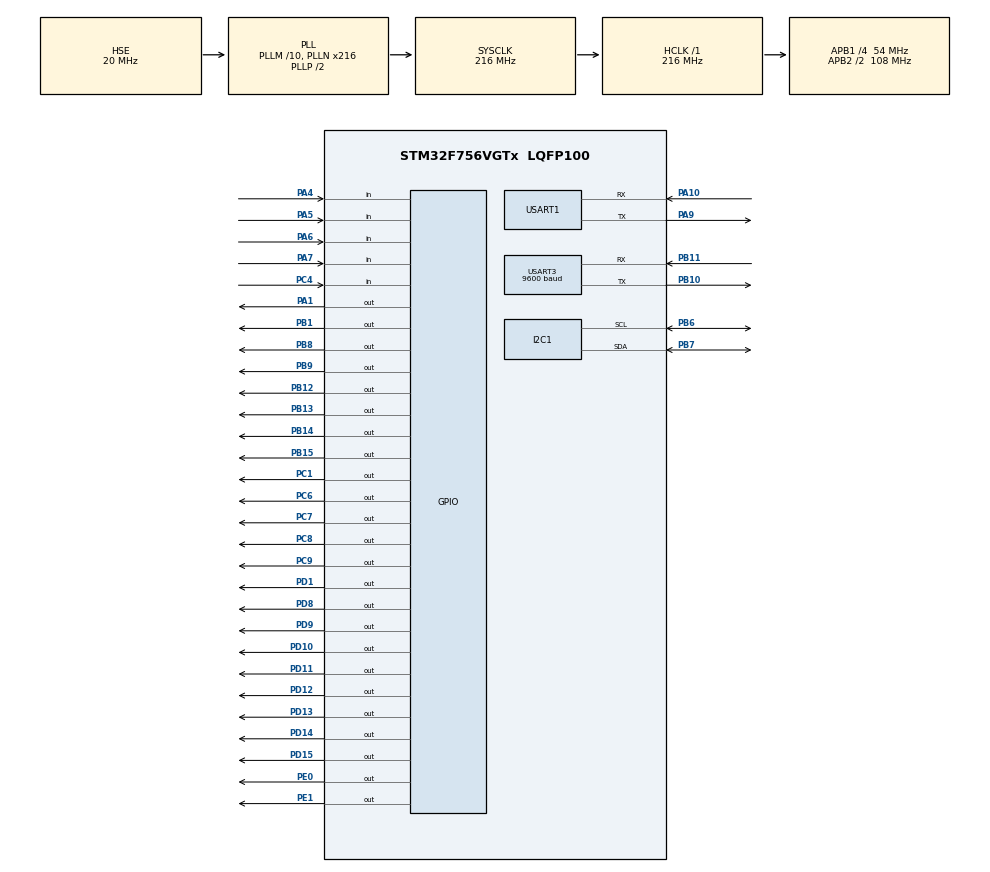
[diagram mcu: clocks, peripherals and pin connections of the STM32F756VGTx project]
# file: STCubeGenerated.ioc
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I2C1.Timing=0x20404768
Mcu.Family=STM32F7
Mcu.Name=STM32F756VGTx
Mcu.Package=LQFP100
NVIC.PriorityGroup=NVIC_PRIORITYGROUP_4
NVIC.TIM6_DAC_IRQn=true\:0\:0\:false\:false\:true
NVIC.TIM7_IRQn=true\:0\:0\:false\:false\:true
NVIC.USART1_IRQn=true\:0\:0\:false\:false\:true
NVIC.USART3_IRQn=true\:0\:0\:false\:false\:true
PA1.Signal=GPIO_Output
PA10.Mode=Asynchronous
PA10.Signal=USART1_RX
PA4.Signal=GPIO_Input
PA5.Signal=GPIO_Input
PA6.Signal=GPIO_Input
PA7.Signal=GPIO_Input
PA9.Mode=Asynchronous
PA9.Signal=USART1_TX
PB1.Signal=GPIO_Output
PB10.Mode=Asynchronous
PB10.Signal=USART3_TX
PB11.Mode=Asynchronous
PB11.Signal=USART3_RX
PB12.Signal=GPIO_Output
PB13.Signal=GPIO_Output
PB14.Signal=GPIO_Output
PB15.Signal=GPIO_Output
PB6.Mode=I2C
PB6.Signal=I2C1_SCL
PB7.Mode=I2C
PB7.Signal=I2C1_SDA
PB8.Signal=GPIO_Output
PB9.Signal=GPIO_Output
PC1.Signal=GPIO_Output
PC4.Signal=GPIO_Input
PC6.Signal=GPIO_Output
PC7.Signal=GPIO_Output
PC8.Signal=GPIO_Output
PC9.Signal=GPIO_Output
PD1.Signal=GPIO_Output
PD10.Signal=GPIO_Output
PD11.Signal=GPIO_Output
PD12.Signal=GPIO_Output
PD13.Signal=GPIO_Output
PD14.Signal=GPIO_Output
PD15.Signal=GPIO_Output
PD8.Signal=GPIO_Output
PD9.Signal=GPIO_Output
PE0.Signal=GPIO_Output
PE1.Signal=GPIO_Output
PH0/OSC_IN.Mode=HSE-External-Oscillator
PH0/OSC_IN.Signal=RCC_OSC_IN
PH1/OSC_OUT.Mode=HSE-External-Oscillator
PH1/OSC_OUT.Signal=RCC_OSC_OUT
ProjectManager.HeapSize=0x200
ProjectManager.StackSize=0x400
ProjectManager.TargetToolchain=MDK-ARM V5
RCC.AHBFreq_Value=216000000
RCC.APB1CLKDivider=RCC_HCLK_DIV4
RCC.APB1Freq_Value=54000000
RCC.APB1TimFreq_Value=108000000
RCC.APB2CLKDivider=RCC_HCLK_DIV2
RCC.APB2Freq_Value=108000000
RCC.APB2TimFreq_Value=216000000
RCC.CortexFreq_Value=216000000
RCC.HCLKFreq_Value=216000000
RCC.HSE_VALUE=20000000
RCC.HSI_VALUE=16000000
RCC.LSE_VALUE=32768
RCC.PLLM=10
RCC.PLLN=216
RCC.PLLSourceVirtual=RCC_PLLSOURCE_HSE
RCC.SYSCLKFreq_VALUE=216000000
RCC.SYSCLKSource=RCC_SYSCLKSOURCE_PLLCLK
RCC.USBFreq_Value=216000000
RCC.VCOOutputFreq_Value=432000000
USART1.VirtualMode-Asynchronous=VM_ASYNC
USART1.WordLength=WORDLENGTH_8B
USART3.BaudRate=9600
USART3.VirtualMode-Asynchronous=VM_ASYNC
USART3.WordLength=WORDLENGTH_8B
VP_TIM6_VS_ClockSourceINT.Mode=Enable_Timer
VP_TIM7_VS_ClockSourceINT.Mode=Enable_Timer
board=STCubeGenerated

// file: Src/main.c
/**
  ******************************************************************************
  * File Name          : main.c
  * Description        : Main program body
  ******************************************************************************
  ** This notice applies to any and all portions of this file
  * that are not between comment pairs USER CODE BEGIN and
  * USER CODE END. Other portions of this file, whether
  * inserted by the user or by software development tools
  * are owned by their respective copyright owners.
  *
  * COPYRIGHT(c) 2017 STMicroelectronics
  *
  * Redistribution and use in source and binary forms, with or without modification,
  * are permitted provided that the following conditions are met:
  *   1. Redistributions of source code must retain the above copyright notice,
  *      this list of conditions and the following disclaimer.
  *   2. Redistributions in binary form must reproduce the above copyright notice,
  *      this list of conditions and the following disclaimer in the documentation
  *      and/or other materials provided with the distribution.
  *   3. Neither the name of STMicroelectronics nor the names of its contributors
  *      may be used to endorse or promote products derived from this software
  *      without specific prior written permission.
  *
  * THIS SOFTWARE IS PROVIDED BY THE COPYRIGHT HOLDERS AND CONTRIBUTORS "AS IS"
  * AND ANY EXPRESS OR IMPLIED WARRANTIES, INCLUDING, BUT NOT LIMITED TO, THE
  * IMPLIED WARRANTIES OF MERCHANTABILITY AND FITNESS FOR A PARTICULAR PURPOSE ARE
  * DISCLAIMED. IN NO EVENT SHALL THE COPYRIGHT HOLDER OR CONTRIBUTORS BE LIABLE
  * FOR ANY DIRECT, INDIRECT, INCIDENTAL, SPECIAL, EXEMPLARY, OR CONSEQUENTIAL
  * DAMAGES (INCLUDING, BUT NOT LIMITED TO, PROCUREMENT OF SUBSTITUTE GOODS OR
  * SERVICES; LOSS OF USE, DATA, OR PROFITS; OR BUSINESS INTERRUPTION) HOWEVER
  * CAUSED AND ON ANY THEORY OF LIABILITY, WHETHER IN CONTRACT, STRICT LIABILITY,
  * OR TORT (INCLUDING NEGLIGENCE OR OTHERWISE) ARISING IN ANY WAY OUT OF THE USE
  * OF THIS SOFTWARE, EVEN IF ADVISED OF THE POSSIBILITY OF SUCH DAMAGE.
  *
  ******************************************************************************
  */
#include "main.h"
#include "stm32f7xx_hal.h"

/* USER CODE BEGIN Includes */
#include <math.h>
#include <stdbool.h>

/* USER CODE END Includes */

I2C_HandleTypeDef hi2c1;

TIM_HandleTypeDef htim6;
TIM_HandleTypeDef htim7;

UART_HandleTypeDef huart1;
UART_HandleTypeDef huart3;

/* USER CODE BEGIN PV */
/* Private variables ---------------------------------------------------------*/
unsigned char RXData[15];																//Array for Bluetooth reception
unsigned char RXDataBuffer[15];													//Temp buffer for above
unsigned char X_Char;																		//Stores received X as Char
unsigned char Y_Char;																		//Stores received Y as Char
unsigned char R_Char;																		//Stores received R as Char
int X_Vect =0;																					//Stores received X as Int
int Y_Vect =0;																					//Stores received Y as Int
int R_Vect =0;																					//Stores received R as Int
int legAngles[3][15];																		//Stores the desired angle for each limb
int legAngles_id[3][15] = {{1, 2, 3, 4, 5,							//Stores the ID of each limb for sorting
											6, 7, 8, 9, 10,
											11, 12, 13, 14, 15},
											{1, 2, 3, 4, 5,
											6, 7, 8, 9, 10,
											11, 12, 13, 14, 15},
											{1, 2, 3, 4, 5,
											6, 7, 8, 9, 10,
											11, 12, 13, 14, 15}};

int servoOffset[] = {300,315,300,305,295,								//Array for storing the offset of each servo
											430,460,450,440,442,
											-110,-112,-105,-78,-98};
int servoMultiplier[] = {	-360,-380,-363,-365,-370,			//Array for storing the multiplier of each servo
													-400,-400,-400,-400,-400,
													480,545,490,460,500};
int servoCount = 0;																			//Counter used for keeping track of servo interrupts
char servoCountChar[2];
int BTCount = 0;																				//Counter for BlueTooth LED
int newPeriod = 0;

static TIM_HandleTypeDef ServoTimer;
static TIM_HandleTypeDef ServoTimer2;

unsigned char BTRewrite[] = {'X','Y','R','\r'};					//String used for debugging

struct servos {
	int theta;
	int phi;
	int alpha;
};

struct coordinates{
	double x;
	double y;
	double z;
};

struct vectors{
	int X;
	int Y;
	int R;
	bool valid;
};

double rad2deg = 57.29577951308232;
double A_length = 50;
double B_length = 106;
double C_length = 130;
double z_body = 70;
double robotRadius = 90;

bool resetStatus[5];																		//Array used to store reset status of each leg

double X_Vector = 0;																		//Global movement vectors
double Y_Vector = 0;
double R_Vector = 0;

double destination[2][5];																//2D array that stores X([0]) and Y([1]) values
																												//for the destination of each foot
double currentPosition[2][5];														//2D array that stores X and Y values for the
																												//current position of each foot
double translateLeg[2][5];															//Stores coordinates of joint 1 for each leg.
																												//Replaces TranslateLeg()
bool legAngleFlag = false;															//True when busy writing to legAngles
int bufferLevel;																				//Used to select between levels in buffer
int time = 0;																						//Keeps timing of robot movement for speed calculations
bool BTon = false;																			//Used in program to determine if Bluetooth is connected or not.
//Peripheral pin & port difinitions
#define BTPort 					GPIOE
#define BTLEDPin 				GPIO_PIN_0
#define redLEDPort 			GPIOB
#define redLEDPin 			GPIO_PIN_9
#define greenLEDPort 		GPIOB
#define greenLEDPin 		GPIO_PIN_8
#define servoPowerPort	GPIOC
#define servoPowerPin		GPIO_PIN_9

//Servo pin & port definitions
#define servo1Pin 		GPIO_PIN_12
#define servo1Port 		GPIOB
#define servo2Pin 		GPIO_PIN_13
#define servo2Port 		GPIOB
#define servo3Pin 		GPIO_PIN_14
#define servo3Port 		GPIOB
#define servo4Pin 		GPIO_PIN_15
#define servo4Port 		GPIOB
#define servo5Pin 		GPIO_PIN_8
#define servo5Port 		GPIOD
#define servo6Pin 		GPIO_PIN_9
#define servo6Port 		GPIOD
#define servo7Pin 		GPIO_PIN_10
#define servo7Port 		GPIOD
#define servo8Pin 		GPIO_PIN_11
#define servo8Port 		GPIOD
#define servo9Pin 		GPIO_PIN_12
#define servo9Port 		GPIOD
#define servo10Pin 		GPIO_PIN_13
#define servo10Port 	GPIOD
#define servo11Pin 		GPIO_PIN_14
#define servo11Port 	GPIOD
#define servo12Pin 		GPIO_PIN_15
#define servo12Port 	GPIOD
#define servo13Pin 		GPIO_PIN_6
#define servo13Port 	GPIOC
#define servo14Pin 		GPIO_PIN_7
#define servo14Port 	GPIOC
#define servo15Pin 		GPIO_PIN_8
#define servo15Port 	GPIOC

uint16_t servoPinArray[] ={	servo1Pin, servo2Pin, servo3Pin,
														servo4Pin, servo5Pin, servo6Pin,
														servo7Pin, servo8Pin, servo9Pin,
														servo10Pin, servo11Pin, servo12Pin,
														servo13Pin, servo14Pin, servo15Pin};

GPIO_TypeDef * servoPortArray[] = {	servo1Port, servo2Port, servo3Port,
																		servo4Port, servo5Port, servo6Port,
																		servo7Port, servo8Port, servo9Port,
																		servo10Port, servo11Port, servo12Port,
																		servo13Port, servo14Port, servo15Port};
/* USER CODE END PV */

void SystemClock_Config(void);
static void MX_GPIO_Init(void);
static void MX_USART3_UART_Init(void);
static void MX_USART1_UART_Init(void);
static void MX_TIM6_Init(void);
static void MX_TIM7_Init(void);
static void MX_I2C1_Init(void);

/* USER CODE BEGIN PFP */
/* Private function prototypes -----------------------------------------------*/
void Debug(char *Array, int count);														//Sends something to UART1 for debugging
void HAL_UART_ErrorCallback(UART_HandleTypeDef *huart);				//Sends error message with Debug()
void SetupTimers(void);																				//Configure timers 6 and 7 for use in servo control
void Sort(void);																							//Sorts timer values into ascending order
void SetServo(int servo, int degrees);												//Sets the timer value for a servo from a degree value
struct servos IK( struct coordinates input);									//Inverse Kinematics function
bool CheckBounds(struct servos leg);													//Check if legs need to be reset
struct coordinates Rotate(double x, double y, double angle);	//Rotate coordinates about an angle
void TranslateLeg(void);																			//Generates constants at beginning of program
struct coordinates Vector(double x, double y, int leg, bool offset, double r);
void StartPosition(void);																			//Resets robot to default position
void HAL_UART_RxCpltCallback(UART_HandleTypeDef *huart);			//ISR for when bluetooth communication is received.
void BTDecrypt(void);																//Resturns vectors sent from android
void ServoUpdate(void);																				//Moves entire buffer over at once to servos
void Delay(int a);																						//Delays program for a cycles of 20ms
void ResetLeg(int leg);																				//Moves the specified leg back to its origin
void DestinationUpdate(int leg);															//Calculates the new destination from the input vectors and the current values

/* USER CODE END PFP */

int main(void)
{

  /* MCU Configuration----------------------------------------------------------*/

  /* Reset of all peripherals, Initializes the Flash interface and the Systick. */
  HAL_Init();

  /* Configure the system clock */
  SystemClock_Config();

  /* Initialize all configured peripherals */
  MX_GPIO_Init();
  MX_USART3_UART_Init();
  MX_USART1_UART_Init();
  MX_TIM6_Init();
  MX_TIM7_Init();
  MX_I2C1_Init();

  /* USER CODE BEGIN 2 */
	SetupTimers();
	StartPosition();

	TranslateLeg();

	Debug("Init done",9);

  /* USER CODE END 2 */

  /* Infinite loop */
  /* USER CODE BEGIN WHILE */
	Debug("Entering main loop",18);
	HAL_UART_Receive_IT(&huart3,RXDataBuffer,15);											//Receive commands via bluetooth in interrupt mode
  while (1)
  {
  /* USER CODE END WHILE */

  /* USER CODE BEGIN 3 */
		//Turn off all LEDs except red
		HAL_GPIO_WritePin(BTPort,BTLEDPin,GPIO_PIN_SET);
		HAL_GPIO_WritePin(greenLEDPort,greenLEDPin,GPIO_PIN_SET);
		HAL_GPIO_WritePin(redLEDPort,redLEDPin,GPIO_PIN_RESET);

		Debug("Waiting for Bluetooth...",24);

		while (BTon == false)
		{
			//Wait here for connection
		}
		//Turn off all LEDs except blue
		HAL_GPIO_WritePin(BTPort,BTLEDPin,GPIO_PIN_RESET);
		HAL_GPIO_WritePin(greenLEDPort,greenLEDPin,GPIO_PIN_SET);
		HAL_GPIO_WritePin(redLEDPort,redLEDPin,GPIO_PIN_SET);
		Debug("Turning on servos...",20);
		//Move servos to home position
		StartPosition();
		//Turn on power to servos
		HAL_GPIO_WritePin(servoPowerPort,servoPowerPin,GPIO_PIN_SET);
		//Delay for 1 second to get things started
		Delay(10);
		//Put legs in the 0,0,50 position one at a time
		for (int leg = 1; leg <6; leg++)
		{
			struct coordinates leg_Vector = Vector(0,0,leg,true,0);
			leg_Vector.z = 50;			//Lift legs above ground
			struct servos leg_servo = IK(leg_Vector);

			SetServo(leg,leg_servo.theta);
			SetServo(leg+5,leg_servo.phi);
			SetServo(leg+10,leg_servo.alpha);
			ServoUpdate();
			Delay(10);
		}
		//Slowly raise the body
		for (int height = 50 ; height >0 ; --height)
		{
			for (int leg = 1; leg <6; leg++)
			{
				struct coordinates leg_Vector = Vector(0,0,leg,true,0);
				leg_Vector.z = height;			//Lift legs above ground
				struct servos leg_servo = IK(leg_Vector);

				SetServo(leg,leg_servo.theta);
				SetServo(leg+5,leg_servo.phi);
				SetServo(leg+10,leg_servo.alpha);
				ServoUpdate();
			}
			Delay(2);
		}
		//Turn off all LEDs except green
		HAL_GPIO_WritePin(BTPort,BTLEDPin,GPIO_PIN_SET);
		HAL_GPIO_WritePin(greenLEDPort,greenLEDPin,GPIO_PIN_RESET);
		HAL_GPIO_WritePin(redLEDPort,redLEDPin,GPIO_PIN_SET);
		Debug("Ready...",8);

		//This is the main part that executes while the bluetooth is connected
		while(BTon)
		{
			//Get the vectors from the last transmitted message
			BTDecrypt();
			//Perform inverse kinematics
			for (int leg = 1; leg <6; leg++)
			{
//				struct coordinates leg_Vector = Vector(-X_Vect,-Y_Vect,leg,true);  //!!!!!!!!!This does not accumulate!!!!!!!!!!!!!!!!!!!!!!
				DestinationUpdate(leg);
				struct coordinates leg_Vector;
				leg_Vector.x = currentPosition[0][leg-1];
				leg_Vector.y = currentPosition[1][leg-1];
				leg_Vector.z = 0;
				struct servos leg_servo = IK(leg_Vector);
				//Check if this is out ouf bounds
				if (CheckBounds(leg_servo))
				{
					resetStatus[leg-1] = true;
				}else{
					resetStatus[leg-1] = false;
				}
				SetServo(leg,leg_servo.theta);
				SetServo(leg+5,leg_servo.phi);
				SetServo(leg+10,leg_servo.alpha);
			}
			//Reset legs if necessary
			for (int leg = 1; leg < 6; leg++)
			{
				if (resetStatus[leg-1] == true)
				{
					//Turn on all LEDs (white)
					HAL_GPIO_WritePin(BTPort,BTLEDPin,GPIO_PIN_RESET);
					HAL_GPIO_WritePin(greenLEDPort,greenLEDPin,GPIO_PIN_RESET);
					HAL_GPIO_WritePin(redLEDPort,redLEDPin,GPIO_PIN_RESET);
					//Reset leg
					ResetLeg(leg);
				}
			}
			//Move the legs to where we want them
			ServoUpdate();
			//Turn off all LEDs except green
			HAL_GPIO_WritePin(BTPort,BTLEDPin,GPIO_PIN_SET);
			HAL_GPIO_WritePin(greenLEDPort,greenLEDPin,GPIO_PIN_RESET);
			HAL_GPIO_WritePin(redLEDPort,redLEDPin,GPIO_PIN_SET);
		}

  }
  /* USER CODE END 3 */

}

/** System Clock Configuration
*/
void SystemClock_Config(void)
{

  RCC_OscInitTypeDef RCC_OscInitStruct;
  RCC_ClkInitTypeDef RCC_ClkInitStruct;
  RCC_PeriphCLKInitTypeDef PeriphClkInitStruct;

    /**Configure the main internal regulator output voltage
    */
  __HAL_RCC_PWR_CLK_ENABLE();

  __HAL_PWR_VOLTAGESCALING_CONFIG(PWR_REGULATOR_VOLTAGE_SCALE1);

    /**Initializes the CPU, AHB and APB busses clocks
    */
  RCC_OscInitStruct.OscillatorType = RCC_OSCILLATORTYPE_HSE;
  RCC_OscInitStruct.HSEState = RCC_HSE_ON;
  RCC_OscInitStruct.PLL.PLLState = RCC_PLL_ON;
  RCC_OscInitStruct.PLL.PLLSource = RCC_PLLSOURCE_HSE;
  RCC_OscInitStruct.PLL.PLLM = 10;
  RCC_OscInitStruct.PLL.PLLN = 216;
  RCC_OscInitStruct.PLL.PLLP = RCC_PLLP_DIV2;
  RCC_OscInitStruct.PLL.PLLQ = 2;
  if (HAL_RCC_OscConfig(&RCC_OscInitStruct) != HAL_OK)
  {
    _Error_Handler(__FILE__, __LINE__);
  }

    /**Activate the Over-Drive mode
    */
  if (HAL_PWREx_EnableOverDrive() != HAL_OK)
  {
    _Error_Handler(__FILE__, __LINE__);
  }

    /**Initializes the CPU, AHB and APB busses clocks
    */
  RCC_ClkInitStruct.ClockType = RCC_CLOCKTYPE_HCLK|RCC_CLOCKTYPE_SYSCLK
                              |RCC_CLOCKTYPE_PCLK1|RCC_CLOCKTYPE_PCLK2;
  RCC_ClkInitStruct.SYSCLKSource = RCC_SYSCLKSOURCE_PLLCLK;
  RCC_ClkInitStruct.AHBCLKDivider = RCC_SYSCLK_DIV1;
  RCC_ClkInitStruct.APB1CLKDivider = RCC_HCLK_DIV4;
  RCC_ClkInitStruct.APB2CLKDivider = RCC_HCLK_DIV2;

  if (HAL_RCC_ClockConfig(&RCC_ClkInitStruct, FLASH_LATENCY_7) != HAL_OK)
  {
    _Error_Handler(__FILE__, __LINE__);
  }

  PeriphClkInitStruct.PeriphClockSelection = RCC_PERIPHCLK_USART1|RCC_PERIPHCLK_USART3
                              |RCC_PERIPHCLK_I2C1;
  PeriphClkInitStruct.Usart1ClockSelection = RCC_USART1CLKSOURCE_PCLK2;
  PeriphClkInitStruct.Usart3ClockSelection = RCC_USART3CLKSOURCE_PCLK1;
  PeriphClkInitStruct.I2c1ClockSelection = RCC_I2C1CLKSOURCE_PCLK1;
  if (HAL_RCCEx_PeriphCLKConfig(&PeriphClkInitStruct) != HAL_OK)
  {
    _Error_Handler(__FILE__, __LINE__);
  }

    /**Configure the Systick interrupt time
    */
  HAL_SYSTICK_Config(HAL_RCC_GetHCLKFreq()/1000);

    /**Configure the Systick
    */
  HAL_SYSTICK_CLKSourceConfig(SYSTICK_CLKSOURCE_HCLK);

  /* SysTick_IRQn interrupt configuration */
  HAL_NVIC_SetPriority(SysTick_IRQn, 0, 0);
}

/* I2C1 init function */
static void MX_I2C1_Init(void)
{

  hi2c1.Instance = I2C1;
  hi2c1.Init.Timing = 0x20404768;
  hi2c1.Init.OwnAddress1 = 0;
  hi2c1.Init.AddressingMode = I2C_ADDRESSINGMODE_7BIT;
  hi2c1.Init.DualAddressMode = I2C_DUALADDRESS_DISABLE;
  hi2c1.Init.OwnAddress2 = 0;
  hi2c1.Init.OwnAddress2Masks = I2C_OA2_NOMASK;
  hi2c1.Init.GeneralCallMode = I2C_GENERALCALL_DISABLE;
  hi2c1.Init.NoStretchMode = I2C_NOSTRETCH_DISABLE;
  if (HAL_I2C_Init(&hi2c1) != HAL_OK)
  {
    _Error_Handler(__FILE__, __LINE__);
  }

    /**Configure Analogue filter
    */
  if (HAL_I2CEx_ConfigAnalogFilter(&hi2c1, I2C_ANALOGFILTER_ENABLE) != HAL_OK)
  {
    _Error_Handler(__FILE__, __LINE__);
  }

    /**Configure Digital filter
    */
  if (HAL_I2CEx_ConfigDigitalFilter(&hi2c1, 0) != HAL_OK)
  {
    _Error_Handler(__FILE__, __LINE__);
  }

}

/* TIM6 init function */
static void MX_TIM6_Init(void)
{

  TIM_MasterConfigTypeDef sMasterConfig;

  htim6.Instance = TIM6;
  htim6.Init.Prescaler = 0;
  htim6.Init.CounterMode = TIM_COUNTERMODE_UP;
  htim6.Init.Period = 0;
  htim6.Init.AutoReloadPreload = TIM_AUTORELOAD_PRELOAD_DISABLE;
  if (HAL_TIM_Base_Init(&htim6) != HAL_OK)
  {
    _Error_Handler(__FILE__, __LINE__);
  }

  sMasterConfig.MasterOutputTrigger = TIM_TRGO_RESET;
  sMasterConfig.MasterSlaveMode = TIM_MASTERSLAVEMODE_DISABLE;
  if (HAL_TIMEx_MasterConfigSynchronization(&htim6, &sMasterConfig) != HAL_OK)
  {
    _Error_Handler(__FILE__, __LINE__);
  }

}

/* TIM7 init function */
static void MX_TIM7_Init(void)
{

  TIM_MasterConfigTypeDef sMasterConfig;

  htim7.Instance = TIM7;
  htim7.Init.Prescaler = 0;
  htim7.Init.CounterMode = TIM_COUNTERMODE_UP;
  htim7.Init.Period = 0;
  htim7.Init.AutoReloadPreload = TIM_AUTORELOAD_PRELOAD_DISABLE;
  if (HAL_TIM_Base_Init(&htim7) != HAL_OK)
  {
    _Error_Handler(__FILE__, __LINE__);
  }

  sMasterConfig.MasterOutputTrigger = TIM_TRGO_RESET;
  sMasterConfig.MasterSlaveMode = TIM_MASTERSLAVEMODE_DISABLE;
  if (HAL_TIMEx_MasterConfigSynchronization(&htim7, &sMasterConfig) != HAL_OK)
  {
    _Error_Handler(__FILE__, __LINE__);
  }

}

/* USART1 init function */
static void MX_USART1_UART_Init(void)
{

  huart1.Instance = USART1;
  huart1.Init.BaudRate = 115200;
  huart1.Init.WordLength = UART_WORDLENGTH_8B;
  huart1.Init.StopBits = UART_STOPBITS_1;
  huart1.Init.Parity = UART_PARITY_NONE;
  huart1.Init.Mode = UART_MODE_TX_RX;
  huart1.Init.HwFlowCtl = UART_HWCONTROL_NONE;
  huart1.Init.OverSampling = UART_OVERSAMPLING_16;
  huart1.Init.OneBitSampling = UART_ONE_BIT_SAMPLE_DISABLE;
  huart1.AdvancedInit.AdvFeatureInit = UART_ADVFEATURE_NO_INIT;
  if (HAL_UART_Init(&huart1) != HAL_OK)
  {
    _Error_Handler(__FILE__, __LINE__);
  }

}

/* USART3 init function */
static void MX_USART3_UART_Init(void)
{

  huart3.Instance = USART3;
  huart3.Init.BaudRate = 9600;
  huart3.Init.WordLength = UART_WORDLENGTH_8B;
  huart3.Init.StopBits = UART_STOPBITS_1;
  huart3.Init.Parity = UART_PARITY_NONE;
  huart3.Init.Mode = UART_MODE_TX_RX;
  huart3.Init.HwFlowCtl = UART_HWCONTROL_NONE;
  huart3.Init.OverSampling = UART_OVERSAMPLING_16;
  huart3.Init.OneBitSampling = UART_ONE_BIT_SAMPLE_DISABLE;
  huart3.AdvancedInit.AdvFeatureInit = UART_ADVFEATURE_NO_INIT;
  if (HAL_UART_Init(&huart3) != HAL_OK)
  {
    _Error_Handler(__FILE__, __LINE__);
  }

}

/** Configure pins as
        * Analog
        * Input
        * Output
        * EVENT_OUT
        * EXTI
*/
static void MX_GPIO_Init(void)
{

  GPIO_InitTypeDef GPIO_InitStruct;

  /* GPIO Ports Clock Enable */
  __HAL_RCC_GPIOH_CLK_ENABLE();
  __HAL_RCC_GPIOC_CLK_ENABLE();
  __HAL_RCC_GPIOA_CLK_ENABLE();
  __HAL_RCC_GPIOB_CLK_ENABLE();
  __HAL_RCC_GPIOD_CLK_ENABLE();
  __HAL_RCC_GPIOE_CLK_ENABLE();

  /*Configure GPIO pin Output Level */
  HAL_GPIO_WritePin(GPIOC, GPIO_PIN_1|GPIO_PIN_6|GPIO_PIN_7|GPIO_PIN_8
                          |GPIO_PIN_9, GPIO_PIN_RESET);

  /*Configure GPIO pin Output Level */
  HAL_GPIO_WritePin(GPIOA, GPIO_PIN_1, GPIO_PIN_RESET);

  /*Configure GPIO pin Output Level */
  HAL_GPIO_WritePin(GPIOB, GPIO_PIN_1|GPIO_PIN_12|GPIO_PIN_13|GPIO_PIN_14
                          |GPIO_PIN_15|GPIO_PIN_8|GPIO_PIN_9, GPIO_PIN_RESET);

  /*Configure GPIO pin Output Level */
  HAL_GPIO_WritePin(GPIOD, GPIO_PIN_8|GPIO_PIN_9|GPIO_PIN_10|GPIO_PIN_11
                          |GPIO_PIN_12|GPIO_PIN_13|GPIO_PIN_14|GPIO_PIN_15
                          |GPIO_PIN_1, GPIO_PIN_RESET);

  /*Configure GPIO pin Output Level */
  HAL_GPIO_WritePin(GPIOE, GPIO_PIN_0|GPIO_PIN_1, GPIO_PIN_RESET);

  /*Configure GPIO pins : PC1 PC6 PC7 PC8
                           PC9 */
  GPIO_InitStruct.Pin = GPIO_PIN_1|GPIO_PIN_6|GPIO_PIN_7|GPIO_PIN_8
                          |GPIO_PIN_9;
  GPIO_InitStruct.Mode = GPIO_MODE_OUTPUT_PP;
  GPIO_InitStruct.Pull = GPIO_NOPULL;
  GPIO_InitStruct.Speed = GPIO_SPEED_FREQ_LOW;
  HAL_GPIO_Init(GPIOC, &GPIO_InitStruct);

  /*Configure GPIO pin : PA1 */
  GPIO_InitStruct.Pin = GPIO_PIN_1;
  GPIO_InitStruct.Mode = GPIO_MODE_OUTPUT_PP;
  GPIO_InitStruct.Pull = GPIO_NOPULL;
  GPIO_InitStruct.Speed = GPIO_SPEED_FREQ_LOW;
  HAL_GPIO_Init(GPIOA, &GPIO_InitStruct);

  /*Configure GPIO pins : PA4 PA5 PA6 PA7 */
  GPIO_InitStruct.Pin = GPIO_PIN_4|GPIO_PIN_5|GPIO_PIN_6|GPIO_PIN_7;
  GPIO_InitStruct.Mode = GPIO_MODE_INPUT;
  GPIO_InitStruct.Pull = GPIO_NOPULL;
  HAL_GPIO_Init(GPIOA, &GPIO_InitStruct);

  /*Configure GPIO pin : PC4 */
  GPIO_InitStruct.Pin = GPIO_PIN_4;
  GPIO_InitStruct.Mode = GPIO_MODE_INPUT;
  GPIO_InitStruct.Pull = GPIO_NOPULL;
  HAL_GPIO_Init(GPIOC, &GPIO_InitStruct);

  /*Configure GPIO pins : PB1 PB12 PB13 PB14
                           PB15 PB8 PB9 */
  GPIO_InitStruct.Pin = GPIO_PIN_1|GPIO_PIN_12|GPIO_PIN_13|GPIO_PIN_14
                          |GPIO_PIN_15|GPIO_PIN_8|GPIO_PIN_9;
  GPIO_InitStruct.Mode = GPIO_MODE_OUTPUT_PP;
  GPIO_InitStruct.Pull = GPIO_NOPULL;
  GPIO_InitStruct.Speed = GPIO_SPEED_FREQ_LOW;
  HAL_GPIO_Init(GPIOB, &GPIO_InitStruct);

  /*Configure GPIO pins : PD8 PD9 PD10 PD11
                           PD12 PD13 PD14 PD15
                           PD1 */
  GPIO_InitStruct.Pin = GPIO_PIN_8|GPIO_PIN_9|GPIO_PIN_10|GPIO_PIN_11
                          |GPIO_PIN_12|GPIO_PIN_13|GPIO_PIN_14|GPIO_PIN_15
                          |GPIO_PIN_1;
  GPIO_InitStruct.Mode = GPIO_MODE_OUTPUT_PP;
  GPIO_InitStruct.Pull = GPIO_NOPULL;
  GPIO_InitStruct.Speed = GPIO_SPEED_FREQ_LOW;
  HAL_GPIO_Init(GPIOD, &GPIO_InitStruct);

  /*Configure GPIO pins : PE0 PE1 */
  GPIO_InitStruct.Pin = GPIO_PIN_0|GPIO_PIN_1;
  GPIO_InitStruct.Mode = GPIO_MODE_OUTPUT_PP;
  GPIO_InitStruct.Pull = GPIO_NOPULL;
  GPIO_InitStruct.Speed = GPIO_SPEED_FREQ_LOW;
  HAL_GPIO_Init(GPIOE, &GPIO_InitStruct);

}

/* USER CODE BEGIN 4 */

/**
  * @brief  This function sends a string to UART1 to be received in a terminal
	* @param  *Array is a pointer to the string
						count is an int equal to the number of characters in the string
  * @retval None
  */
void Debug(char *Array, int count)
{
	uint8_t TXBuffer[count+1];
	for(int i = 0; i!=count;i++)
	{
		TXBuffer[i] = Array[i];
	}

	TXBuffer[count] ='\r';
	TXBuffer[count+1] ='\n';
	HAL_UART_Transmit(&huart1,TXBuffer,count+2,10);
}

/**
  * @brief  This function is executed in the case of an error with the UART modules
	* @param  *huart is a handle of the UART module in question
  * @retval None
  */
void HAL_UART_ErrorCallback(UART_HandleTypeDef *huart)
{
	if (huart == &huart3)
	{
		Debug("Bluetooth Error",15);
	}else if (huart == &huart1)
	{
		Debug("Serial Error",12);
	}else{
		Debug("UART error",10);
	}

}

/**
  * @brief  This function configures the timers used in generating the servo signals
	* @param  None
  * @retval None
  */
void SetupTimers(void)
{
	//Timer 6
	//50Hz Interrupt
	ServoTimer.Instance =TIM6;
	ServoTimer.Init.Prescaler =40000;
	ServoTimer.Init.CounterMode = TIM_COUNTERMODE_UP;
	ServoTimer.Init.Period =54;
	ServoTimer.Init.RepetitionCounter = 0;
	HAL_TIM_Base_Init(&ServoTimer);
	HAL_TIM_Base_Start_IT(&ServoTimer);

	//Timer 7
	//Variable frequency interrupt
	htim7.Instance =TIM7;
	htim7.Init.Prescaler =1000;
	htim7.Init.CounterMode = TIM_COUNTERMODE_UP;
	htim7.Init.Period =160;
	htim7.Init.RepetitionCounter = 0;
	HAL_TIM_Base_Init(&htim7);
	HAL_TIM_Base_Start_IT(&htim7);
}

/** @brief Function for sorting the desired leg angles into ascending order
						to make timer functions simpler
  * @param None
  * @retval None */
void Sort(void)
{
	for(int i = 0;i<15;i++)
	{
		for(int j = i+1;j<15;j++)
		{
			if(legAngles[0][i] > legAngles[0][j])
			{
				//swop the angles
				int a = legAngles[0][i];
				legAngles[0][i] = legAngles[0][j];
				legAngles[0][j] = a;
				//now swop the index
				a = legAngles_id[0][i];
				legAngles_id[0][i] = legAngles_id[0][j];
				legAngles_id[0][j] = a;
			}
		}
	}
}

/**
  * @brief  This function executes when a timer interrupts. It is used to generate servo signals
	* @param  *htim is a handle of the timer module that triggered the interrupt
  * @retval None
  */
void HAL_TIM_PeriodElapsedCallback(TIM_HandleTypeDef *htim)
	{

		if(htim == &htim7){
			if(legAngleFlag == true)
			{
				bufferLevel = 2;
			}else{
				bufferLevel = 1;
			}
			//Turn off
			++servoCount;
			if (servoCount < 15)
			{
				newPeriod = (legAngles[bufferLevel][servoCount]- legAngles[bufferLevel][servoCount-1]);

				while (newPeriod == 0)
				{
					HAL_GPIO_WritePin(servoPortArray[legAngles_id[bufferLevel][servoCount-1]-1] ,servoPinArray[legAngles_id[bufferLevel][servoCount-1]-1],GPIO_PIN_RESET);
					++servoCount;
					newPeriod = (legAngles[bufferLevel][servoCount]- legAngles[bufferLevel][servoCount-1]);
				}
				//Adjust for time lost in this subroutine
				if (newPeriod>1)
				{
					--newPeriod;
				}
				if (newPeriod < 0 || newPeriod > 400)
				{
					newPeriod = 0;
				}
				TIM7->ARR = (newPeriod);
				HAL_GPIO_WritePin(servoPortArray[legAngles_id[bufferLevel][servoCount-1]-1] ,servoPinArray[legAngles_id[bufferLevel][servoCount-1]-1],GPIO_PIN_RESET);
			}else{
				//Turn off servo 15
				HAL_GPIO_WritePin(servoPortArray[legAngles_id[bufferLevel][14]-1] ,servoPinArray[legAngles_id[bufferLevel][14]-1],GPIO_PIN_RESET);
				//Stop the timer for the rest of the cycle
				HAL_TIM_Base_Stop(&htim7);
				if (servoCount != 0xF)
				{
					Debug("servoCount Error",16);
				}
				servoCount = 0;
			}
		}else if (htim == &htim6)
		{
			servoCount = 0;
			++time;
			//50Hz Interrupt
			//Turn all on
			HAL_GPIO_WritePin(servo1Port,servo1Pin,GPIO_PIN_SET);
			HAL_GPIO_WritePin(servo2Port,servo2Pin,GPIO_PIN_SET);
			HAL_GPIO_WritePin(servo3Port,servo3Pin,GPIO_PIN_SET);
			HAL_GPIO_WritePin(servo4Port,servo4Pin,GPIO_PIN_SET);
			HAL_GPIO_WritePin(servo5Port,servo5Pin,GPIO_PIN_SET);
			HAL_GPIO_WritePin(servo6Port,servo6Pin,GPIO_PIN_SET);
			HAL_GPIO_WritePin(servo7Port,servo7Pin,GPIO_PIN_SET);
			HAL_GPIO_WritePin(servo8Port,servo8Pin,GPIO_PIN_SET);
			HAL_GPIO_WritePin(servo9Port,servo9Pin,GPIO_PIN_SET);
			HAL_GPIO_WritePin(servo10Port,servo10Pin,GPIO_PIN_SET);
			HAL_GPIO_WritePin(servo11Port,servo11Pin,GPIO_PIN_SET);
			HAL_GPIO_WritePin(servo12Port,servo12Pin,GPIO_PIN_SET);
			HAL_GPIO_WritePin(servo13Port,servo13Pin,GPIO_PIN_SET);
			HAL_GPIO_WritePin(servo14Port,servo14Pin,GPIO_PIN_SET);
			HAL_GPIO_WritePin(servo15Port,servo15Pin,GPIO_PIN_SET);

			if(legAngleFlag == true)
			{
				bufferLevel = 2;
			}else{
				bufferLevel = 1;
			}
			//Set period for 1st servo
			newPeriod = legAngles[bufferLevel][servoCount];
			if (newPeriod < 0 || newPeriod > 400)
				{
					newPeriod = 0;
				}
			while (newPeriod == 0 && servoCount < 16)
			{
				++servoCount;
				newPeriod = legAngles[bufferLevel][servoCount];
				if (newPeriod < 0 || newPeriod > 400)
				{
					newPeriod = 0;
				}
			}

			TIM7->ARR = newPeriod;
			//Start the timer
			HAL_TIM_Base_Start(&htim7);

			//BT LED
			++BTCount;
			if (BTCount > 120) //20ms * 120 = 2.4s
			{
				//Assume BT is disconnected
				BTon = false;
				//HAL_GPIO_WritePin(servoPowerPort,servoPowerPin,GPIO_PIN_RESET);
				BTCount = 0;
//				HAL_GPIO_TogglePin(greenLEDPort,greenLEDPin);
//				HAL_GPIO_TogglePin(redLEDPort,redLEDPin);
			}
		}else{
			Debug("Timer Interrupt Error",21);
		}
	}

/**
  * @brief  This function calculates the required timer values for each of the servos
	* @param  servo is an int in the range 1:15 corresponding to a specific joint
						degrees is an int in the range 0:180 for the required position of the specific servo
  * @retval None
  */
void SetServo(int servo, int degrees)
{
	//Set the servo with the correct index in the array
	for (int i = 0; i<15; i++)
	{
		if (servo == legAngles_id[0][i])
		{
			legAngles[0][i] =servoOffset[servo-1] + (degrees*(servoMultiplier[servo-1])/180);
			return;
		}
	}
}

/**
  * @brief  This function does the inverse kinematic calculations for a specific leg
	* @param  input is a struct of type coordinates with members x, y and z
							corresponding to the required position of the foot relative to the hip.
  * @retval servos is a struct with members theta, phi and alpha corresponding with the
							resulting angles required.
  */
struct servos IK( struct coordinates input)
{
	//make the return struct
	struct servos result;
	//Calculate theta
	double theta = atan2(input.x,input.y);
	//Calculate coordinates of joint 2
	double x = A_length * sin(theta);
	double y = A_length * cos(theta);
	//horizontal distance from joint 1 to foot
	double reach = sqrt(pow(input.x-x,2)+pow(input.y-y,2));
	//Absolute distance between joint 2 and foot
	double twoToFoot = sqrt(pow(input.x-x,2)+pow(input.y-y,2) +pow(input.z-z_body,2));
	//perform Cosine rule to get alpha
	double f =((pow(B_length ,2) + pow(C_length,2) - pow(twoToFoot ,2))/(2*B_length*C_length));
	double d = acos(f);
	double alpha =(rad2deg * d) + 0.5;		//+0.5 for rounding
	result.alpha = (int)alpha;
	//use sine rule to get phi
	double c = asin(C_length * sin(d) / twoToFoot);
	double e = atan2(reach ,z_body-input.z);
	double phi = 270 - c*rad2deg - e*rad2deg + 0.5; // +0.5 for rounding
	result.phi = (int)phi;
	//convert theta to degrees. Add 0.5 for rounding
	theta = (theta * rad2deg) + 0.5;
	result.theta = 180-(int)theta;

	return result;
}

/**
  * @brief  This function checks that all legs are within the boundaries specified and
							writes the results in a global array
	* @param  None
  * @retval None
  */
bool CheckBounds(struct servos leg)
{
	if ( leg.theta < 50 || leg.theta > 120		// 50 < theta < 120
		|| leg.phi < 90 || leg.phi > 170		// 90 < phi   < 170
		|| leg.alpha < 70 || leg.alpha> 130)		// 70 < alpha < 130
	{
		return true;
	}else{
		return false;
	}
}

/**
  * @brief  This function rotates the given coordinates about the origin through a given angle
	* @param  x,y are doubles corresponding to the coordinates
						angle is a double in degrees
  * @retval a coordinates struct with members x, y and z. z is not used in this case.
  */
struct coordinates Rotate(double x, double y, double angle)
{
	//Create output struct
	struct coordinates result;
	//convert angle to radians
	angle = angle/rad2deg;
	//calculate return values
	result.x = x * cos(angle) - y * sin(angle);
	result.y = x * sin(angle) + y * cos(angle);

	return result;
}

/**
  * @brief  This function calculates the normalized position of a leg from the
							given movement vectors
	* @param	x is a double with the X vector
						y is a double with the Y vector
						leg is an int in the range 1:5
						offset is a bool indicating whether the coordinates should be
							denormalized
  * @retval a struct of type coordinates. The z member is unused
  */
struct coordinates Vector(double x, double y, int leg, bool offset, double r)
{
	//Create return struct
	struct coordinates result;
	//Make the trajectory polar with a magnitude and angle
	double trajectory = atan2(y,x);
	double magnitude = sqrt(pow(x,2)+pow(y,2));
	//Match the trajectory to the leg
	struct coordinates neutral;
	//Translation components
	if (offset)
	{
		neutral = Rotate(270,0,(leg-1)*72);
		struct coordinates offset= Rotate(robotRadius,0,(leg-1)*72);
		neutral.x = neutral.x - offset.x;
		neutral.y = neutral.y - offset.y;
	}else{
		neutral.x = 0;
		neutral.y = 0;
	}
	result.x = neutral.x + magnitude*cos(trajectory) + translateLeg[0][leg-1];
	result.y = neutral.y + magnitude*sin(trajectory) + translateLeg[1][leg-1];
	//+ Rotation
	struct coordinates temp = Rotate(result.x,result.y,-(leg-1)*72-5*r);
	result.x = temp.x - translateLeg[0][0];
	result.y = temp.y - translateLeg[1][0];
	if (offset)
	{
		//save the destination for  use in reset leg function later.
		destination[0][leg-1] = result.x;
		destination[1][leg-1] = result.y;
	}
	return result;
}

/**
  * @brief  This function is used once to calculate coefficients and store them in array for later use.
	* @param  None
  * @retval None
  */
void TranslateLeg(void)
{
	for(int leg = 0; leg < 5; leg++)
	{
		translateLeg[0][leg] = robotRadius * cos(leg*72/rad2deg);
		translateLeg[1][leg] = robotRadius * sin(leg*72/rad2deg);
	}
}

/**
  * @brief  This function resets a leg if it is out of bounds
	* @param  leg is an int in the range 1:5
  * @retval None
  */
void ResetLeg(int leg)
{
	//Lift up the leg where it is currently
	struct coordinates lift;
	lift.x = destination[0][leg-1];		//destination array is updated automatically when the vector function is used.
	lift.y = destination[1][leg-1];
	lift.z = 30;
	struct servos leg_up = IK(lift);
	//Send this to servos and wait
	SetServo(leg,leg_up.theta);
	SetServo(leg+5,leg_up.phi);
	SetServo(leg+10,leg_up.alpha);
	ServoUpdate();
	Delay(10);
	//Now move the leg over to the new position
	struct coordinates reset = Vector(X_Vect,Y_Vect,leg,true,R_Vect);
	reset.z = 30;
	destination[0][leg-1] = reset.x;
	destination[1][leg-1] = reset.y;
	currentPosition[0][leg-1] = reset.x;
	currentPosition[1][leg-1] = reset.y;
	struct servos leg_reset = IK(reset);
	//Send this to servos and wait
	SetServo(leg,leg_reset.theta);
	SetServo(leg+5,leg_reset.phi);
	SetServo(leg+10,leg_reset.alpha);
	ServoUpdate();
	Delay(10);
	//Now put down the leg where it is
	reset.z = 0;
	leg_reset = IK(reset);
	//Send this to the servos and wait
	SetServo(leg,leg_reset.theta);
	SetServo(leg+5,leg_reset.phi);
	SetServo(leg+10,leg_reset.alpha);
	ServoUpdate();
	Delay(10);
}

void StartPosition(void)
{
	//Set servo begin positions
	SetServo(1,90);
	SetServo(2,90);
	SetServo(3,90);
	SetServo(4,90);
	SetServo(5,90);
	SetServo(6,100);
	SetServo(7,100);
	SetServo(8,100);
	SetServo(9,100);
	SetServo(10,100);
	SetServo(11,90);
	SetServo(12,90);
	SetServo(13,90);
	SetServo(14,90);
	SetServo(15,90);
	ServoUpdate();
	Delay(10);
}
/**
  * @brief  This is an Interrupt service routine for when bluetooth communication is finished
  * @param  None
  * @retval None
  */
void HAL_UART_RxCpltCallback(UART_HandleTypeDef *huart)
{
	BTon = true;
	for (int i = 0;i<16;i++)
	{
		RXData[i] = RXDataBuffer[i];
	}
	HAL_UART_Receive_IT(&huart3,RXDataBuffer,15);											//Receive commands via bluetooth
}

void BTDecrypt(void)
{
	//Bluetooth reception decryption
		for(int i = 0;i<7;i++)
		{
			//Is this a valid message?
			if ((RXData[i] == 'X')&& (RXData[i+2] == 'Y')&&(RXData[i+4]=='R')&&(RXData[i+6]=='*'))
			{
//				//Turn Blue LED on
//				HAL_GPIO_WritePin(BTPort,BTLEDPin,GPIO_PIN_RESET);
//				HAL_GPIO_WritePin(servoPowerPort,servoPowerPin,GPIO_PIN_SET);
				BTon = true;
				BTCount = 0;
				//Extract the necessary commands
				X_Char = RXData[i+1];
				Y_Char = RXData[i+3];
				R_Char = RXData[i+5];
				//Clear the array
				for(int j = 0;j<14;j++)
				{
					RXData[j]=0;
				}
				//Calculate correct vectors
				X_Vect = X_Char - '5';
				Y_Vect = Y_Char - '5';
				R_Vect = R_Char - '5';
				//Debug
				HAL_UART_Transmit(&huart1,&X_Char,1,10);
				HAL_UART_Transmit(&huart1,&Y_Char,1,10);
				HAL_UART_Transmit(&huart1,&R_Char,1,10);
				HAL_UART_Transmit(&huart1,BTRewrite,4,10);
				}
		}
}

void ServoUpdate(void)
{
	//Set a flag while editing these registers
	legAngleFlag = true;
	//Sort the servo times in ascending order
	Sort();
	//Copy the results into buffer level 2
		for (int n = 0; n<15 ;n++)
	{
	legAngles[1][n] = legAngles[0][n];
	legAngles_id[1][n] = legAngles_id[0][n];
	}
	//Clear busy flag
	legAngleFlag = false;
	//Copy into buffer level 3
	for (int n = 0; n<15 ;n++)
	{
	legAngles[2][n] = legAngles[1][n];
	legAngles_id[2][n] = legAngles_id[1][n];
	}
}

void Delay(int a)
{
	time = 0;
	while(time < a)
	{
		//wait here till delay value is reached.
	}
}

void DestinationUpdate(int leg)
{
	//Move destination to current
	currentPosition[0][leg-1] = destination[0][leg-1];
	currentPosition[1][leg-1] = destination[1][leg-1];
	//Vector to add to this
//	struct coordinates leg_Vector = Vector(-X_Vect,-Y_Vect,leg,true);
//	leg_Vector.z = 0;
	struct coordinates newVector = Vector(-X_Vect,-Y_Vect,leg,false,-R_Vect);
	//Destination = current + new
	destination[0][leg-1] = newVector.x + currentPosition[0][leg-1];
	destination[1][leg-1] = newVector.y + currentPosition[1][leg-1];
}
/* USER CODE END 4 */

void _Error_Handler(char * file, int line)
{
  while(1)
  {
  }
}

/************************ (C) COPYRIGHT STMicroelectronics *****END OF FILE****/
